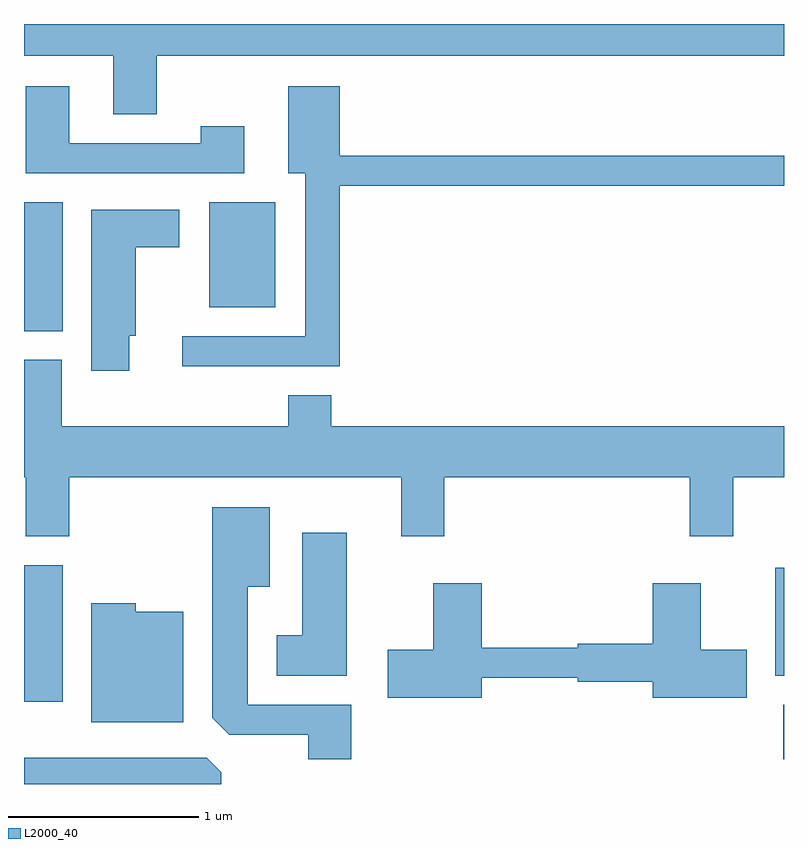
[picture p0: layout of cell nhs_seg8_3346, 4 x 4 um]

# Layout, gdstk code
import gdstk
lib = gdstk.Library(unit=1e-6, precision=1e-09)
def R(c, l, rs):  # rectangles x0, y0, x1, y1
    for r in rs: c.add(gdstk.rectangle(r[:2], r[2:], *l))
def P(c, l, *ps):  # polygons
    for p in ps: c.add(gdstk.Polygon(p, *l))
L2000_40 = (2000, 40)

nhs_seg8_3346 = lib.new_cell('nhs_seg8_3346')
R(nhs_seg8_3346, L2000_40, [(289.606,1850.471,289.611,1850.759), (285.611,1850.776,285.814,1851.494), (289.566,1850.911,289.611,1851.479), (285.611,1852.726,285.814,1853.404), (286.586,1852.851,286.934,1853.404)])
P(nhs_seg8_3346, L2000_40, [(286.309,1854.176),(289.611,1854.176),(289.611,1854.342),(285.611,1854.342),(285.611,1854.176),(286.081,1854.176),(286.081,1853.866),(286.309,1853.866)],
  [(287.274,1853.491),(289.611,1853.491),(289.611,1853.649),(287.274,1853.649),(287.274,1854.014),(287.001,1854.014),(287.001,1853.556),(287.091,1853.556),(287.091,1852.699),(286.443,1852.699),(286.443,1852.541),(287.274,1852.541)],
  [(286.769,1853.804),(286.541,1853.804),(286.541,1853.714),(285.849,1853.714),(285.849,1854.014),(285.621,1854.014),(285.621,1853.556),(286.769,1853.556)],
  [(286.164,1852.701),(286.199,1852.701),(286.199,1853.166),(286.429,1853.166),(286.429,1853.364),(285.966,1853.364),(285.966,1852.516),(286.164,1852.516)],
  [(285.849,1851.956),(287.596,1851.956),(287.596,1851.646),(287.824,1851.646),(287.824,1851.956),(289.116,1851.956),(289.116,1851.646),(289.344,1851.646),(289.344,1851.956),(289.611,1851.956),(289.611,1852.224),(287.229,1852.224),(287.229,1852.389),(287.001,1852.389),(287.001,1852.224),(285.809,1852.224),(285.809,1852.574),(285.611,1852.574),(285.611,1851.956),(285.621,1851.956),(285.621,1851.646),(285.849,1851.646)],
  [(287.334,1850.759),(286.789,1850.759),(286.789,1851.381),(286.904,1851.381),(286.904,1851.799),(286.601,1851.799),(286.601,1850.692),(286.692,1850.601),(287.106,1850.601),(287.106,1850.471),(287.334,1850.471)],
  [(287.309,1851.664),(287.076,1851.664),(287.076,1851.124),(286.941,1851.124),(286.941,1850.911),(287.309,1850.911)],
  [(288.019,1850.901),(288.526,1850.901),(288.526,1850.881),(288.921,1850.881),(288.921,1850.796),(289.414,1850.796),(289.414,1851.049),(289.174,1851.049),(289.174,1851.399),(288.921,1851.399),(288.921,1851.079),(288.526,1851.079),(288.526,1851.059),(288.019,1851.059),(288.019,1851.399),(287.766,1851.399),(287.766,1851.049),(287.526,1851.049),(287.526,1850.796),(288.019,1850.796)],
  [(286.449,1851.249),(286.199,1851.249),(286.199,1851.294),(285.966,1851.294),(285.966,1850.666),(286.449,1850.666)],
  [(286.649,1850.404),(286.574,1850.479),(285.613,1850.479),(285.613,1850.342),(286.649,1850.342)])

lib.write_gds('nhs_seg8_3346.gds')
